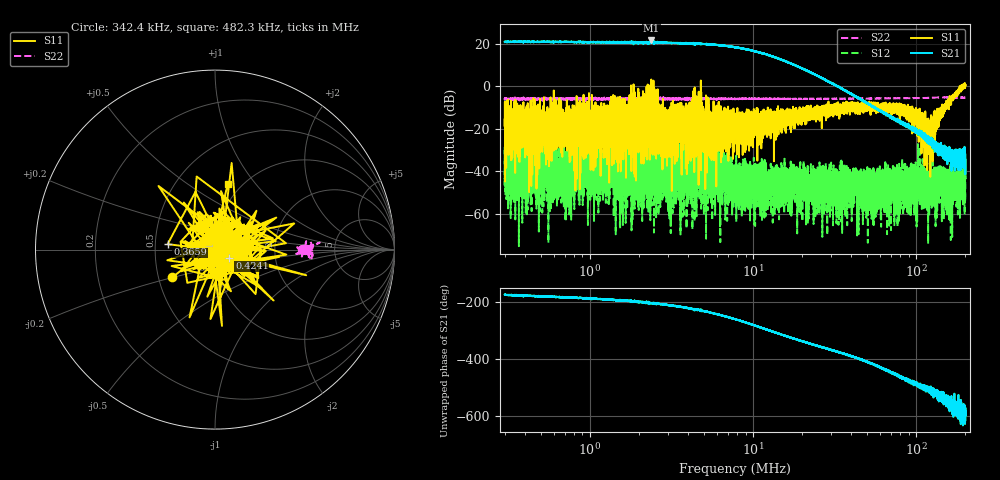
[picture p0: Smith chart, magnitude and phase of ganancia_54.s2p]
# Hz S DB R 50
! CMT, M5065, 19127446, 24.2.4/2
! Date: 11/1/2024 3:46:16 PM
! Data: Format (Calibration Info)
! Freq	S11:dB/Ang(F2)	S21:dB/Ang(F2)	S12:dB/Ang(F2)	S22:dB/Ang(F2)
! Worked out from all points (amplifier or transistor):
!   9000 points, 300 kHz to 200 MHz, reference 50 ohm
!   highest |S21| = 21.5 dB at 2.378 MHz (marker M1)
!   |S21| within 3 dB of that: start of sweep to 7.455 MHz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
!   unconditionally stable (mu >= 1): 6.404 MHz to 184.5 MHz; 184.7 MHz to 189.5 MHz; 191.2 MHz to 192.5 MHz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
!   at 886.8 kHz: K = 3.75, MAG = 22.0 dB, |S12| = -40.7 dB
!   at 7.749 MHz: K = 5.85, MAG = 19.8 dB, |S12| = -42.5 dB
!   at 200 MHz: K = -335.21, MSG = 4.3 dB, |S12| = -43.1 dB
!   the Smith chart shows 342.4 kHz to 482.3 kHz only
!   S11 on the Smith chart (normalised r, x): 342.4 kHz: 0.59, -0.20; 365.9 kHz: 0.58, +0.04; 424.1 kHz: 1.17, -0.11; 482.3 kHz: 0.87, +0.73
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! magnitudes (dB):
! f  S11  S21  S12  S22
! 300 kHz  -15.7  20.8  -46.5  -6.1
! 310.1 kHz  -18.7  20.8  -42.5  -6.1
! 342.4 kHz  -10.9  21.0  -39.3  -6.2
! 365.9 kHz  -11.5  21.0  -42.0  -5.9
! 424.1 kHz  -20.7  20.7  -45.0  -6.0
! 482.3 kHz  -8.6  20.7  -45.0  -6.1
! 886.8 kHz  -19.4  20.7  -40.7  -5.9
! 2.378 MHz  3.1  21.5  -32.8  -5.7
! 2.621 MHz  -18.5  20.5  -28.1  -6.5
! 4.663 MHz  -13.7  19.8  -37.7  -6.1
! 5.434 MHz  -15.8  19.7  -47.4  -6.0
! 6.515 MHz  -31.0  19.0  -43.7  -6.0
! 7.749 MHz  -13.4  18.4  -42.5  -6.0
! 22.91 MHz  -15.2  6.0  -53.0  -6.0
! 67.71 MHz  -11.7  -14.1  -47.2  -5.7
! 86.75 MHz  -10.9  -18.7  -44.1  -5.6
! 108.1 MHz  -16.3  -21.1  -57.7  -5.6
! 116.7 MHz  -29.2  -24.5  -50.1  -5.5
! 122.3 MHz  -18.6  -25.9  -47.3  -5.5
! 144 MHz  -13.7  -28.5  -54.1  -5.3
! 179.3 MHz  -2.7  -33.3  -42.3  -5.4
! 200 MHz  0.5  -34.5  -43.1  -5.4
